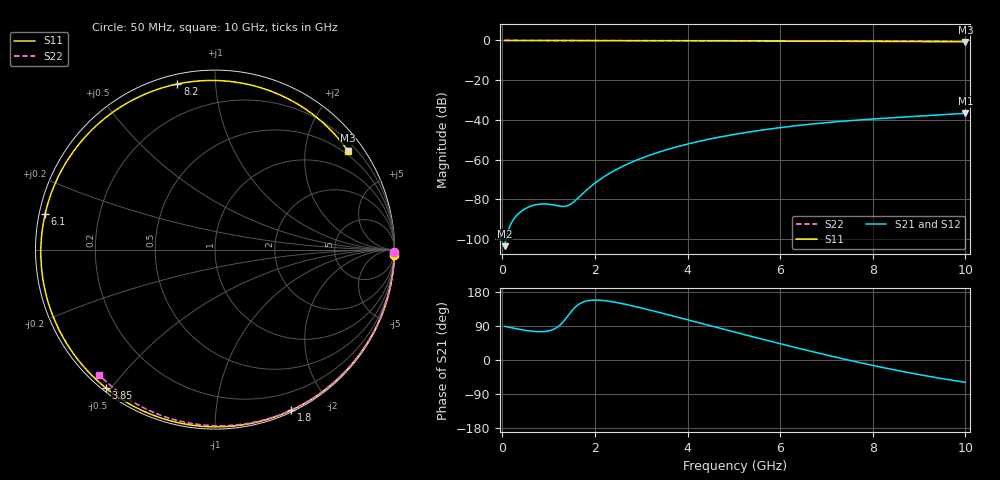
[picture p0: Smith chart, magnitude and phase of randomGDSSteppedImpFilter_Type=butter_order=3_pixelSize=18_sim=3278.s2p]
! freq	dB(S11)	phase(S11)	dB(S12)	phase(S12)
!  dB(S21)	phase(S21)	dB(S22)	phase(S22)
!S-par simulation data
#  GHz  S  DB  R 50
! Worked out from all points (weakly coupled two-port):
!   200 points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, 50 MHz to 10 GHz, reference 50 ohm
!   highest |S21| = -36.69 dB at 10 GHz (marker M1); lowest = -103.6 dB at 50 MHz (marker M2)
!   lowest |S11| = -0.7 dB at 10 GHz (marker M3), VSWR 24.77, Z = 20.1 + j148 ohm
!   |S11| at or under -10 dB: nowhere
!   |S22| runs from -0.4 to 0.0 dB; largest |S21 - S12| = 0
!   S11 on the Smith chart (normalised r, x): 50 MHz: 0, -61; 1.8 GHz: 0.02, -1.58; 3.85 GHz: 0.01, -0.48; 6.1 GHz: 0.02, +0.10; 8.2 GHz: 0.05, +0.80; 10 GHz: 0.40, +2.97
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0.05  -0.00 -1.9  -103.64 88.7  -103.64 88.7  -0.00 -0.8
0.75  -0.04 -27.7  -82.65 74.9  -82.65 74.9  -0.01 -11.5
1.6  -0.07 -57.8  -80.17 142.1  -80.17 142.1  -0.03 -24.3
1.75  -0.08 -62.9  -76.87 153.1  -76.87 153.1  -0.03 -26.5
1.8  -0.08 -64.6  -75.80 155.1  -75.80 155.1  -0.03 -27.2
2.15  -0.09 -76.3  -69.39 157.4  -69.39 157.4  -0.04 -32.4
2.5  -0.11 -87.6  -64.57 151.0  -64.57 151.0  -0.05 -37.5
2.95  -0.12 -101.6  -59.83 138.8  -59.83 138.8  -0.06 -44.0
3.4  -0.14 -115.2  -56.12 125.1  -56.12 125.1  -0.07 -50.4
3.85  -0.16 -128.3  -53.09 110.9  -53.09 110.9  -0.08 -56.7
4.45  -0.19 -145.4  -49.82 91.7  -49.82 91.7  -0.09 -64.9
5.05  -0.22 -162.2  -47.17 72.6  -47.17 72.6  -0.11 -73.0
5.6  -0.26 -177.5  -45.16 55.4  -45.16 55.4  -0.13 -80.1
6.1  -0.29 168.3  -43.62 40.0  -43.62 40.0  -0.15 -86.5
6.7  -0.34 150.7  -42.07 22.0  -42.07 22.0  -0.18 -94.0
7.5  -0.41 126.0  -40.42 -0.9  -40.42 -0.9  -0.23 -103.7
8.2  -0.48 102.8  -39.28 -19.4  -39.28 -19.4  -0.28 -112.1
8.35  -0.50 97.6  -39.06 -23.2  -39.06 -23.2  -0.29 -113.8
8.75  -0.54 83.4  -38.50 -32.8  -38.50 -32.8  -0.32 -118.5
9.15  -0.58 68.8  -37.95 -41.8  -37.95 -41.8  -0.36 -123.1
9.55  -0.63 53.8  -37.38 -50.2  -37.38 -50.2  -0.40 -127.7
10  -0.70 36.7  -36.69 -58.8  -36.69 -58.8  -0.45 -132.8
